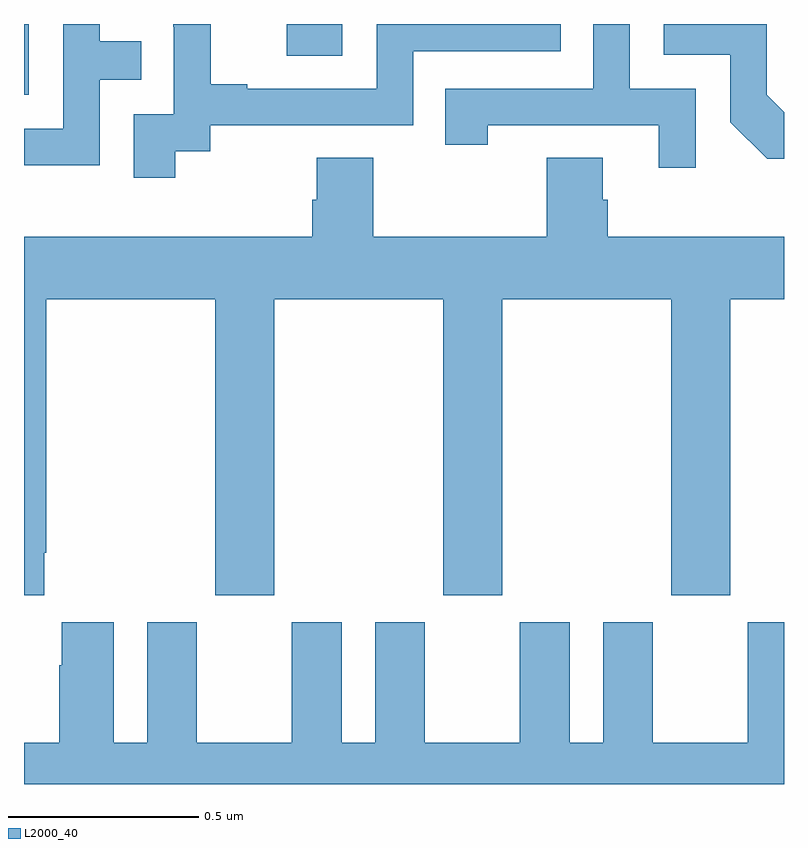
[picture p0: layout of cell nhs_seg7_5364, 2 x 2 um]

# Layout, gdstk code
import gdstk
lib = gdstk.Library(unit=1e-6, precision=1e-09)
def R(c, l, rs):  # rectangles x0, y0, x1, y1
    for r in rs: c.add(gdstk.rectangle(r[:2], r[2:], *l))
def P(c, l, *ps):  # polygons
    for p in ps: c.add(gdstk.Polygon(p, *l))
L2000_40 = (2000, 40)

nhs_seg7_5364 = lib.new_cell('nhs_seg7_5364')
R(nhs_seg7_5364, L2000_40, [(185,1007.814,185.013,1008), (185.691,1007.916,185.838,1008)])
P(nhs_seg7_5364, L2000_40, [(185.199,1007.853),(185.309,1007.853),(185.309,1007.954),(185.199,1007.954),(185.199,1008),(185.103,1008),(185.103,1007.724),(185,1007.724),(185,1007.628),(185.199,1007.628)],
  [(186.768,1007.829),(186.594,1007.829),(186.594,1008),(186.498,1008),(186.498,1007.829),(186.109,1007.829),(186.109,1007.682),(186.22,1007.682),(186.22,1007.733),(186.671,1007.733),(186.671,1007.622),(186.768,1007.622)],
  [(187,1007.768),(186.954,1007.814),(186.954,1008),(186.684,1008),(186.684,1007.919),(186.858,1007.919),(186.858,1007.742),(186.956,1007.645),(187,1007.645)],
  [(185.398,1007.665),(185.49,1007.665),(185.49,1007.733),(186.024,1007.733),(186.024,1007.928),(186.413,1007.928),(186.413,1008),(185.928,1008),(185.928,1007.829),(185.587,1007.829),(185.587,1007.842),(185.492,1007.842),(185.492,1008),(185.393,1008),(185.393,1007.993),(185.394,1007.993),(185.394,1007.763),(185.289,1007.763),(185.289,1007.595),(185.398,1007.595)],
  [(185.053,1006.609),(185.058,1006.609),(185.058,1007.276),(185.503,1007.276),(185.503,1006.497),(185.658,1006.497),(185.658,1007.276),(186.103,1007.276),(186.103,1006.497),(186.258,1006.497),(186.258,1007.276),(186.703,1007.276),(186.703,1006.497),(186.858,1006.497),(186.858,1007.276),(187,1007.276),(187,1007.44),(186.536,1007.44),(186.536,1007.538),(186.523,1007.538),(186.523,1007.648),(186.376,1007.648),(186.376,1007.44),(185.919,1007.44),(185.919,1007.648),(185.771,1007.648),(185.771,1007.538),(185.759,1007.538),(185.759,1007.44),(185,1007.44),(185,1006.497),(185.053,1006.497)],
  [(187,1006.426),(186.905,1006.426),(186.905,1006.108),(186.655,1006.108),(186.655,1006.426),(186.524,1006.426),(186.524,1006.108),(186.436,1006.108),(186.436,1006.426),(186.305,1006.426),(186.305,1006.108),(186.055,1006.108),(186.055,1006.426),(185.924,1006.426),(185.924,1006.108),(185.836,1006.108),(185.836,1006.426),(185.705,1006.426),(185.705,1006.108),(185.455,1006.108),(185.455,1006.426),(185.324,1006.426),(185.324,1006.108),(185.236,1006.108),(185.236,1006.426),(185.099,1006.426),(185.099,1006.313),(185.093,1006.313),(185.093,1006.108),(185,1006.108),(185,1006),(187,1006)])

lib.write_gds('nhs_seg7_5364.gds')
